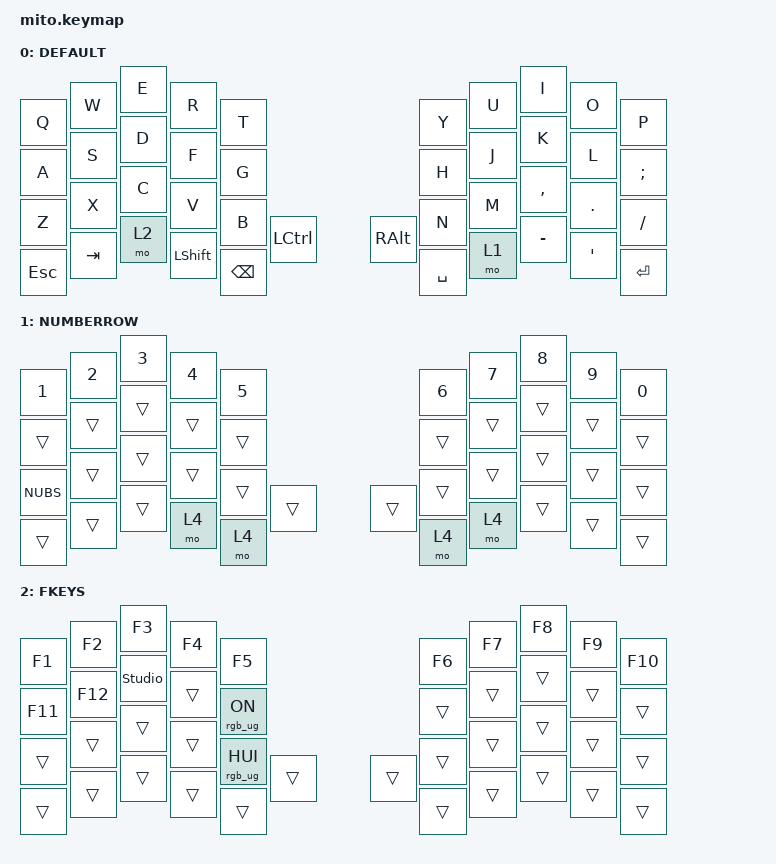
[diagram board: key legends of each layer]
#include <behaviors.dtsi>
#include <dt-bindings/zmk/keys.h>
#include <dt-bindings/zmk/bt.h>
#include <dt-bindings/zmk/pointing.h>
#include <dt-bindings/zmk/rgb.h>

/ {
    keymap {
        compatible = "zmk,keymap";

        DEFAULT {
            bindings = <
                &kp Q       &kp W       &kp E       &kp R       &kp T               &kp Y       &kp U       &kp I       &kp O       &kp P
                &kp A       &kp S       &kp D       &kp F       &kp G               &kp H       &kp J       &kp K       &kp L       &kp SEMI
                &kp Z       &kp X       &kp C       &kp V       &kp B               &kp N       &kp M       &kp COMMA   &kp DOT     &kp FSLH
                &kp ESC     &kp TAB     &mo 2       &kp LSHIFT  &kp BSPC            &kp SPACE   &mo 1       &kp MINUS   &kp SQT     &kp RET
                                                                &kp LCTRL           &kp RALT
            >;
        };

        NUMBERROW {
            bindings = <
                &kp N1      &kp N2      &kp N3      &kp N4      &kp N5              &kp N6      &kp N7      &kp N8      &kp N9      &kp N0
                &trans      &trans      &trans      &trans      &trans              &trans      &trans      &trans      &trans      &trans
                &kp NUBS    &trans      &trans      &trans      &trans              &trans      &trans      &trans      &trans      &trans
                &trans      &trans      &trans      &mo 4       &mo 4               &mo 4       &mo 4       &trans      &trans      &trans
                                                                &trans              &trans
            >;
        };

        FKEYS {
            bindings = <
                &kp F1      &kp F2      &kp F3      &kp F4      &kp F5              &kp F6           &kp F7      &kp F8      &kp F9      &kp F10     
                &kp F11     &kp F12  &studio_unlock &trans      &rgb_ug RGB_ON      &trans           &trans      &trans      &trans      &trans
                &trans      &trans      &trans      &trans      &rgb_ug RGB_HUI     &trans           &trans      &trans      &trans      &trans
                &trans      &trans      &trans      &trans      &trans              &trans           &trans      &trans      &trans      &trans
                                                                &trans              &trans
            >;

        };
    };
};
